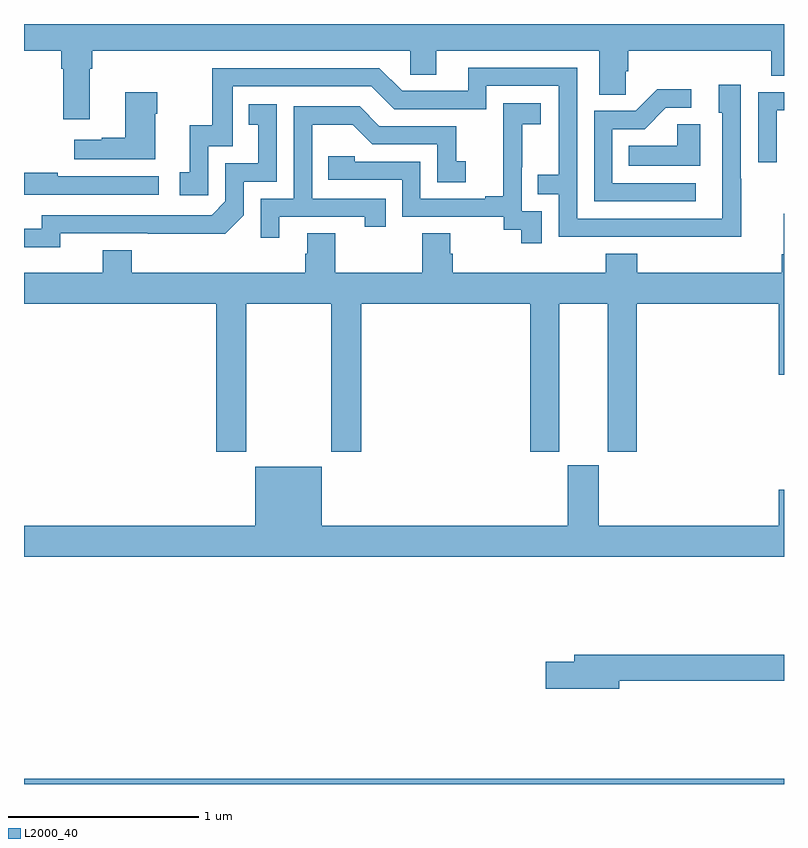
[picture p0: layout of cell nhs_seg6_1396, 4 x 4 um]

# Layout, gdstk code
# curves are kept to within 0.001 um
import gdstk
lib = gdstk.Library(unit=1e-6, precision=1e-09)
def R(c, l, rs):  # rectangles x0, y0, x1, y1
    for r in rs: c.add(gdstk.rectangle(r[:2], r[2:], *l))
def P(c, l, *ps):  # polygons
    for p in ps: c.add(gdstk.Polygon(p, *l))
L2000_40 = (2000, 40)

nhs_seg6_1396 = lib.new_cell('nhs_seg6_1396')
R(nhs_seg6_1396, L2000_40, [(197,919.5,201,919.528)])
P(nhs_seg6_1396, L2000_40, [(197.347,923.264),(197.36,923.264),(197.36,923.36),(199.032,923.36),(199.032,923.233),(199.171,923.233),(199.171,923.36),(200.027,923.36),(200.027,923.128),(200.166,923.128),(200.166,923.251),(200.18,923.251),(200.18,923.36),(200.933,923.36),(200.933,923.227),(201,923.227),(201,923.5),(197,923.5),(197,923.36),(197.195,923.36),(197.195,923.264),(197.207,923.264),(197.207,922.998),(197.347,922.998)],
  [(200.775,922.685),(200.772,922.685),(200.772,923.179),(200.657,923.179),(200.657,923.034),(200.676,923.034),(200.676,922.476),(199.911,922.476),(199.911,923.271),(199.337,923.271),(199.337,923.148),(198.99,923.148),(198.87,923.268),(197.991,923.268),(197.991,922.966),(197.873,922.966),(197.873,922.719),(197.82,922.719),(197.82,922.599),(197.97,922.599),(197.97,922.857),(198.099,922.857),(198.099,923.172),(198.828,923.172),(198.948,923.052),(199.434,923.052),(199.434,923.175),(199.815,923.175),(199.815,922.706),(199.705,922.706),(199.705,922.605),(199.815,922.605),(199.815,922.38),(200.775,922.379)],
  [(200.536,922.662),(200.097,922.662),(200.097,922.947),(200.266,922.947),(200.377,923.058),(200.512,923.058),(200.512,923.156),(200.333,923.156),(200.22,923.043),(200.001,923.043),(200.001,922.566),(200.536,922.566)],
  [(200.961,923.046),(201,923.046),(201,923.142),(200.865,923.142),(200.865,922.773),(200.961,922.773)],
  [(197.692,923.027),(197.7,923.027),(197.7,923.14),(197.534,923.14),(197.534,922.901),(197.408,922.901),(197.408,922.891),(197.265,922.891),(197.265,922.787),(197.692,922.787)],
  [(199.725,922.515),(199.62,922.515),(199.62,922.745),(199.622,922.745),(199.622,922.973),(199.72,922.973),(199.72,923.083),(199.522,923.083),(199.522,922.877),(199.523,922.877),(199.523,922.594),(199.427,922.594),(199.427,922.581),(199.086,922.581),(199.086,922.776),(198.741,922.776),(198.741,922.803),(198.601,922.803),(198.601,922.68),(198.99,922.68),(198.99,922.485),(199.524,922.485),(199.524,922.417),(199.617,922.417),(199.617,922.347),(199.725,922.347)],
  [(197.19,922.398),(198.058,922.397),(198.156,922.494),(198.156,922.671),(198.33,922.671),(198.33,923.077),(198.184,923.077),(198.184,922.971),(198.233,922.971),(198.233,922.767),(198.06,922.767),(198.06,922.566),(197.988,922.494),(197.094,922.494),(197.094,922.422),(197,922.422),(197,922.325),(197.19,922.325)],
  [(198.343,922.485),(198.794,922.485),(198.794,922.434),(198.905,922.434),(198.905,922.581),(198.516,922.581),(198.516,922.97),(198.73,922.97),(198.834,922.866),(199.176,922.866),(199.176,922.668),(199.324,922.668),(199.324,922.777),(199.275,922.777),(199.275,922.962),(198.871,922.962),(198.766,923.067),(198.42,923.067),(198.42,922.581),(198.246,922.581),(198.246,922.374),(198.343,922.374)],
  [(200.56,922.973),(200.439,922.973),(200.439,922.858),(200.182,922.858),(200.182,922.754),(200.56,922.754)],
  [(197.71,922.698),(197.177,922.698),(197.177,922.718),(197,922.718),(197,922.602),(197.71,922.602)],
  [(198.171,922.028),(198.616,922.028),(198.616,921.249),(198.776,921.249),(198.776,922.028),(199.664,922.028),(199.664,921.249),(199.816,921.249),(199.816,922.028),(200.072,922.028),(200.072,921.249),(200.225,921.249),(200.225,922.028),(200.972,922.028),(200.972,921.654),(201,921.654),(201,922.501),(200.999,922.501),(200.999,922.288),(200.987,922.288),(200.987,922.192),(200.228,922.192),(200.228,922.291),(200.063,922.291),(200.063,922.192),(199.256,922.192),(199.256,922.29),(199.243,922.29),(199.243,922.4),(199.096,922.4),(199.096,922.192),(198.639,922.192),(198.639,922.4),(198.491,922.4),(198.491,922.29),(198.479,922.29),(198.479,922.192),(197.567,922.192),(197.567,922.309),(197.414,922.309),(197.414,922.192),(197,922.192),(197,922.028),(198.011,922.028),(198.011,921.249),(198.171,921.249)],
  [(201,921.049),(200.972,921.049),(200.972,920.86),(200.026,920.86),(200.026,921.177),(199.862,921.177),(199.862,920.86),(198.568,920.86),(198.568,921.169),(198.218,921.169),(198.218,920.86),(197,920.86),(197,920.696),(201,920.696)],
  [(200.134,920.044),(201,920.044),(201,920.18),(199.895,920.18),(199.895,920.144),(199.746,920.144),(199.746,920.002),(200.134,920.002)])

lib.write_gds('nhs_seg6_1396.gds')
